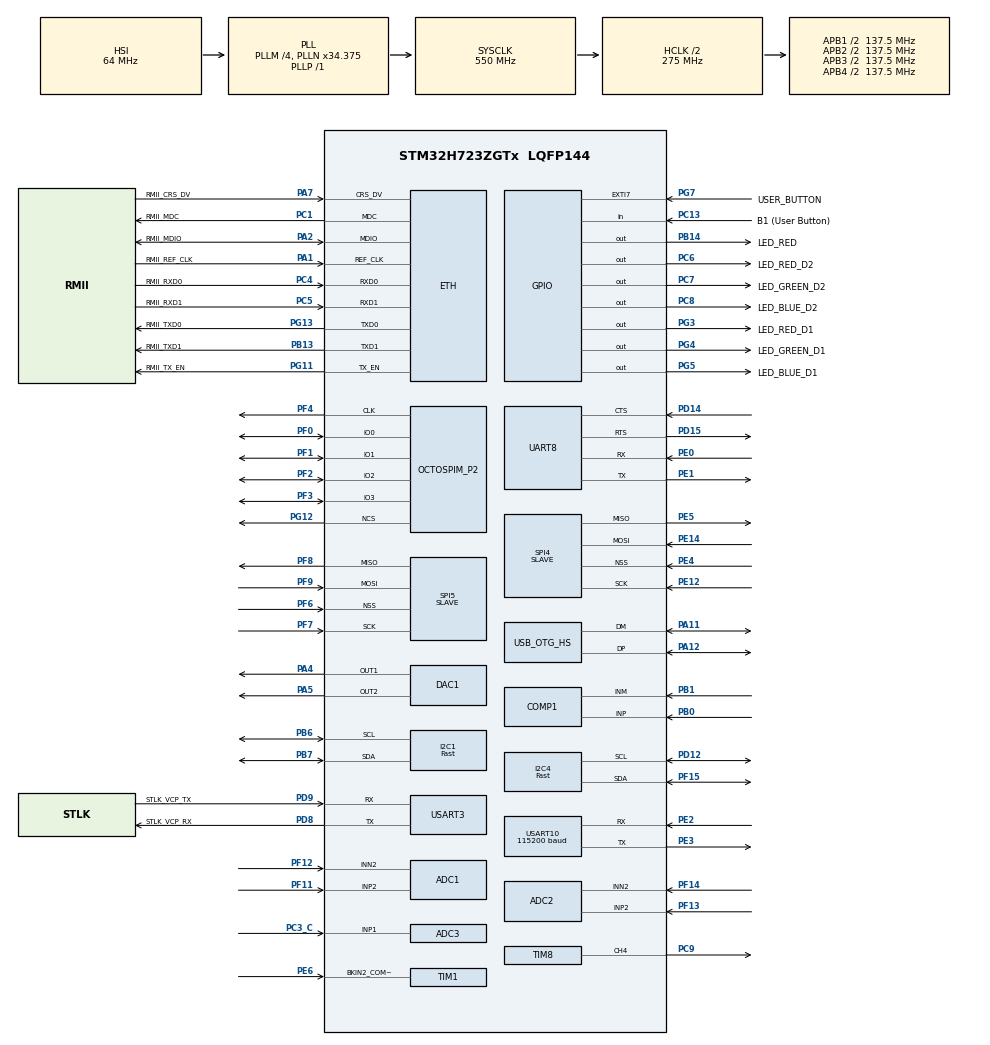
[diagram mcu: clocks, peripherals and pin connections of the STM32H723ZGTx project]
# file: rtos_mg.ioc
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ADC1.AWD1HighThreshold=50000
ADC1.AWD1ITMode=ENABLE
ADC1.Channel-0\#ChannelRegularConversion=ADC_CHANNEL_2
ADC1.ContinuousConvMode=ENABLE
ADC1.EnableAnalogWatchDog1=true
ADC1.NbrOfConversionFlag=1
ADC1.OffsetNumber-0\#ChannelRegularConversion=ADC_OFFSET_NONE
ADC1.OffsetSignedSaturation-0\#ChannelRegularConversion=DISABLE
ADC1.Rank-0\#ChannelRegularConversion=1
ADC1.SamplingTime-0\#ChannelRegularConversion=ADC_SAMPLETIME_2CYCLES_5
ADC1.SingleDiff-0\#ChannelRegularConversion=ADC_DIFFERENTIAL_ENDED
ADC1.WatchdogChannel=ADC_CHANNEL_2
ADC1.master=1
ADC2.AWD1HighThreshold=50000
ADC2.AWD1ITMode=ENABLE
ADC2.Channel-0\#ChannelRegularConversion=ADC_CHANNEL_2
ADC2.ContinuousConvMode=ENABLE
ADC2.ConversionDataManagement=ADC_CONVERSIONDATA_DR
ADC2.EnableAnalogWatchDog1=true
ADC2.NbrOfConversionFlag=1
ADC2.OffsetNumber-0\#ChannelRegularConversion=ADC_OFFSET_NONE
ADC2.OffsetSignedSaturation-0\#ChannelRegularConversion=DISABLE
ADC2.Rank-0\#ChannelRegularConversion=1
ADC2.SamplingTime-0\#ChannelRegularConversion=ADC_SAMPLETIME_2CYCLES_5
ADC2.SingleDiff-0\#ChannelRegularConversion=ADC_DIFFERENTIAL_ENDED
ADC2.WatchdogChannel=ADC_CHANNEL_2
ADC3.AWD1FilteringConfig=ADC3_AWD_FILTERING_4SAMPLES
ADC3.AWD1HighThreshold=4000
ADC3.Channel-0\#ChannelRegularConversion=ADC_CHANNEL_1
ADC3.ContinuousConvMode=ENABLE
ADC3.ConversionDataManagement=ADC_CONVERSIONDATA_DMA_CIRCULAR
ADC3.DMAContinuousRequests=ENABLE
ADC3.EnableAnalogWatchDog1=true
ADC3.NbrOfConversion=1
ADC3.NbrOfConversionFlag=1
ADC3.OffsetNumber-0\#ChannelRegularConversion=ADC_OFFSET_NONE
ADC3.OffsetSign-0\#ChannelRegularConversion=ADC3_OFFSET_SIGN_NEGATIVE
ADC3.Rank-0\#ChannelRegularConversion=1
ADC3.SamplingTime-0\#ChannelRegularConversion=ADC3_SAMPLETIME_2CYCLES_5
ADC3.WatchdogChannel=ADC_CHANNEL_1
Bdma.ADC3.0.Direction=DMA_PERIPH_TO_MEMORY
Bdma.ADC3.0.EventEnable=DISABLE
Bdma.ADC3.0.Instance=BDMA_Channel0
Bdma.ADC3.0.MemDataAlignment=DMA_MDATAALIGN_HALFWORD
Bdma.ADC3.0.MemInc=DMA_MINC_ENABLE
Bdma.ADC3.0.Mode=DMA_CIRCULAR
Bdma.ADC3.0.PeriphDataAlignment=DMA_PDATAALIGN_HALFWORD
Bdma.ADC3.0.PeriphInc=DMA_PINC_DISABLE
Bdma.ADC3.0.Polarity=HAL_DMAMUX_REQ_GEN_RISING
Bdma.ADC3.0.Priority=DMA_PRIORITY_LOW
Bdma.ADC3.0.RequestNumber=1
Bdma.ADC3.0.SignalID=NONE
Bdma.ADC3.0.SyncEnable=DISABLE
Bdma.ADC3.0.SyncPolarity=HAL_DMAMUX_SYNC_NO_EVENT
Bdma.ADC3.0.SyncRequestNumber=1
Bdma.ADC3.0.SyncSignalID=NONE
Bdma.Request0=ADC3
Bdma.RequestsNb=1
COMP1.Hysteresis=COMP_HYSTERESIS_NONE
COMP1.TriggerMode=COMP_TRIGGERMODE_IT_RISING_FALLING
CORTEX_M7.CPU_DCache=Disabled
CORTEX_M7.CPU_ICache=Disabled
CORTEX_M7.default_mode_Activation=0
DAC1.DAC_Channel-DAC_OUT1=DAC_CHANNEL_1
DAC1.DAC_Channel-DAC_OUT2=DAC_CHANNEL_2
DTS.Divider=100
DTS.SamplingTime=DTS_SMP_TIME_15_CYCLE
ETH.MediaInterface=HAL_ETH_RMII_MODE
FREERTOS.Tasks01=Server,24,2048,server,Default,NULL,Dynamic,NULL,NULL
FREERTOS.configTOTAL_HEAP_SIZE=65536
FREERTOS.configUSE_NEWLIB_REENTRANT=1
I2C1.I2C_Speed_Mode=I2C_Fast
I2C1.Timing=0x00D049FB
I2C4.I2C_Speed_Mode=I2C_Fast
I2C4.Speed=400
I2C4.Timing=0x00D049FB
Mcu.Family=STM32H7
Mcu.Name=STM32H723ZGTx
Mcu.Package=LQFP144
NVIC.ADC3_IRQn=true\:5\:0\:false\:false\:true\:true\:true\:true\:true
NVIC.ADC_IRQn=true\:5\:0\:false\:false\:true\:true\:true\:true\:true
NVIC.BDMA_Channel0_IRQn=true\:5\:0\:false\:false\:true\:true\:false\:true\:true
NVIC.COMP_IRQn=true\:5\:0\:false\:false\:true\:true\:false\:true\:true
NVIC.ETH_IRQn=true\:5\:0\:false\:false\:true\:true\:true\:true\:true
NVIC.EXTI9_5_IRQn=true\:5\:0\:false\:false\:true\:true\:true\:true\:true
NVIC.I2C1_ER_IRQn=true\:5\:0\:false\:false\:true\:true\:true\:true\:true
NVIC.I2C1_EV_IRQn=true\:5\:0\:false\:false\:true\:true\:true\:true\:true
NVIC.I2C4_ER_IRQn=true\:5\:0\:false\:false\:true\:true\:true\:true\:true
NVIC.I2C4_EV_IRQn=true\:5\:0\:false\:false\:true\:true\:true\:true\:true
NVIC.OTG_HS_IRQn=true\:5\:0\:false\:false\:true\:true\:false\:true\:true
NVIC.PriorityGroup=NVIC_PRIORITYGROUP_4
NVIC.SPI4_IRQn=true\:5\:0\:false\:false\:true\:true\:true\:true\:true
NVIC.SPI5_IRQn=true\:5\:0\:false\:false\:true\:true\:true\:true\:true
NVIC.TIM6_DAC_IRQn=true\:15\:0\:false\:false\:true\:false\:false\:true\:true
NVIC.TimeBase=TIM6_DAC_IRQn
NVIC.TimeBaseIP=TIM6
NVIC.UART8_IRQn=true\:5\:0\:false\:false\:true\:true\:true\:true\:true
NVIC.USART10_IRQn=true\:5\:0\:false\:false\:true\:true\:true\:true\:true
OCTOSPI2.ChipSelectHighTime=8
OCTOSPI2.ClockPrescaler=10
OCTOSPI2.DelayBlockBypass=HAL_OSPI_DELAY_BLOCK_BYPASSED
OCTOSPI2.DeviceSize=24
OCTOSPI2.DeviceType=SPI_DEVICE_FLASH
OCTOSPI2.FifoThreshold=4
OCTOSPI2.SampleShifting=HAL_OSPI_SAMPLE_SHIFTING_HALFCYCLE
PA1.GPIO_Label=RMII_REF_CLK
PA1.GPIO_Speed=GPIO_SPEED_FREQ_VERY_HIGH
PA1.Mode=RMII
PA1.Signal=ETH_REF_CLK
PA11.Mode=Device_Only_FS
PA11.Signal=USB_OTG_HS_DM
PA12.Mode=Device_Only_FS
PA12.Signal=USB_OTG_HS_DP
PA13(JTMS/SWDIO).GPIO_Label=SWDIO
PA13(JTMS/SWDIO).Signal=DEBUG_JTMS-SWDIO
PA14(JTCK/SWCLK).GPIO_Label=SWCLK
PA14(JTCK/SWCLK).Signal=DEBUG_JTCK-SWCLK
PA2.GPIO_Label=RMII_MDIO
PA2.GPIO_Speed=GPIO_SPEED_FREQ_VERY_HIGH
PA2.Mode=RMII
PA2.Signal=ETH_MDIO
PA4.Signal=COMP_DAC11_group
PA5.Signal=COMP_DAC12_group
PA7.GPIO_Label=RMII_CRS_DV
PA7.GPIO_Speed=GPIO_SPEED_FREQ_VERY_HIGH
PA7.Mode=RMII
PA7.Signal=ETH_CRS_DV
PB0.Mode=INP
PB0.Signal=COMP1_INP
PB1.Mode=INM
PB1.Signal=COMP1_INM
PB13.GPIO_Label=RMII_TXD1
PB13.GPIO_Speed=GPIO_SPEED_FREQ_VERY_HIGH
PB13.Mode=RMII
PB13.Signal=ETH_TXD1
PB14.GPIO_Label=LED_RED
PB14.Signal=GPIO_Output
PB6.Mode=I2C
PB6.Signal=I2C1_SCL
PB7.Mode=I2C
PB7.Signal=I2C1_SDA
PC1.GPIO_Label=RMII_MDC
PC1.GPIO_Speed=GPIO_SPEED_FREQ_VERY_HIGH
PC1.Mode=RMII
PC1.Signal=ETH_MDC
PC13.GPIO_Label=B1 (User Button)
PC13.Signal=GPIO_Input
PC14-OSC32_IN.Signal=RCC_OSC32_IN
PC15-OSC32_OUT.Signal=RCC_OSC32_OUT
PC3_C.Mode=IN1-Single-Ended
PC3_C.Signal=ADC3_INP1
PC4.GPIO_Label=RMII_RXD0
PC4.GPIO_Speed=GPIO_SPEED_FREQ_VERY_HIGH
PC4.Mode=RMII
PC4.Signal=ETH_RXD0
PC5.GPIO_Label=RMII_RXD1
PC5.GPIO_Speed=GPIO_SPEED_FREQ_VERY_HIGH
PC5.Mode=RMII
PC5.Signal=ETH_RXD1
PC6.GPIO_Label=LED_RED_D2
PC6.Signal=GPIO_Output
PC7.GPIO_Label=LED_GREEN_D2
PC7.Signal=GPIO_Output
PC8.GPIO_Label=LED_BLUE_D2
PC8.GPIO_ModeDefaultOutputPP=GPIO_MODE_OUTPUT_OD
PC8.GPIO_PuPd=GPIO_NOPULL
PC8.Signal=GPIO_Output
PC9.Signal=S_TIM8_CH4
PD12.Mode=I2C
PD12.Signal=I2C4_SCL
PD14.Mode=CTS_RTS
PD14.Signal=UART8_CTS
PD15.Mode=CTS_RTS
PD15.Signal=UART8_RTS
PD8.GPIO_Label=STLK_VCP_RX
PD8.Mode=Asynchronous
PD8.Signal=USART3_TX
PD9.GPIO_Label=STLK_VCP_TX
PD9.Mode=Asynchronous
PD9.Signal=USART3_RX
PE0.Mode=Asynchronous
PE0.Signal=UART8_RX
PE1.Mode=Asynchronous
PE1.Signal=UART8_TX
PE12.Mode=Full_Duplex_Slave
PE12.Signal=SPI4_SCK
PE14.Mode=Full_Duplex_Slave
PE14.Signal=SPI4_MOSI
PE2.Mode=Asynchronous
PE2.Signal=USART10_RX
PE3.Mode=Asynchronous
PE3.Signal=USART10_TX
PE4.Mode=NSS_Signal_Hard_Input
PE4.Signal=SPI4_NSS
PE5.Mode=Full_Duplex_Slave
PE5.Signal=SPI4_MISO
PE6.Mode=ExternalOutput_TIM1BKIN2
PE6.Signal=TIM1_BKIN2_COMP1
PF0.Mode=OCTOSPI2_IOL_Port2L
PF0.Signal=OCTOSPIM_P2_IO0
PF1.Mode=OCTOSPI2_IOL_Port2L
PF1.Signal=OCTOSPIM_P2_IO1
PF11.Mode=IN2-Differential
PF11.Signal=ADC1_INP2
PF12.Mode=IN2-Differential
PF12.Signal=ADC1_INN2
PF13.Mode=IN2-Differential
PF13.Signal=ADC2_INP2
PF14.Mode=IN2-Differential
PF14.Signal=ADC2_INN2
PF15.Mode=I2C
PF15.Signal=I2C4_SDA
PF2.Mode=OCTOSPI2_IOL_Port2L
PF2.Signal=OCTOSPIM_P2_IO2
PF3.Mode=OCTOSPI2_IOL_Port2L
PF3.Signal=OCTOSPIM_P2_IO3
PF4.Mode=O2_P2_CLK
PF4.Signal=OCTOSPIM_P2_CLK
PF6.Mode=NSS_Signal_Hard_Input
PF6.Signal=SPI5_NSS
PF7.Mode=Full_Duplex_Slave
PF7.Signal=SPI5_SCK
PF8.Mode=Full_Duplex_Slave
PF8.Signal=SPI5_MISO
PF9.Mode=Full_Duplex_Slave
PF9.Signal=SPI5_MOSI
PG11.GPIO_Label=RMII_TX_EN
PG11.GPIO_Speed=GPIO_SPEED_FREQ_VERY_HIGH
PG11.Mode=RMII
PG11.Signal=ETH_TX_EN
PG12.Mode=OCTOSPI2_Port2_NCS
PG12.Signal=OCTOSPIM_P2_NCS
PG13.GPIO_Label=RMII_TXD0
PG13.GPIO_Speed=GPIO_SPEED_FREQ_VERY_HIGH
PG13.Mode=RMII
PG13.Signal=ETH_TXD0
PG3.GPIO_Label=LED_RED_D1
PG3.GPIO_ModeDefaultOutputPP=GPIO_MODE_OUTPUT_OD
PG3.GPIO_PuPd=GPIO_NOPULL
PG3.Signal=GPIO_Output
PG4.GPIO_Label=LED_GREEN_D1
PG4.GPIO_ModeDefaultOutputPP=GPIO_MODE_OUTPUT_OD
PG4.GPIO_PuPd=GPIO_NOPULL
PG4.Signal=GPIO_Output
PG5.GPIO_Label=LED_BLUE_D1
PG5.GPIO_ModeDefaultOutputPP=GPIO_MODE_OUTPUT_OD
PG5.GPIO_PuPd=GPIO_NOPULL
PG5.Signal=GPIO_Output
PG7.GPIO_Label=USER_BUTTON
PG7.Signal=GPXTI7
ProjectManager.HeapSize=0x200
ProjectManager.StackSize=0x400
ProjectManager.TargetToolchain=CMake
RCC.ADCFreq_Value=4000000
RCC.APB1Freq_Value=137500000
RCC.APB2Freq_Value=137500000
RCC.APB3Freq_Value=137500000
RCC.APB4Freq_Value=137500000
RCC.CortexFreq_Value=550000000
RCC.D1PPRE=RCC_APB3_DIV2
RCC.D2PPRE1=RCC_APB1_DIV2
RCC.D2PPRE2=RCC_APB2_DIV2
RCC.D3PPRE=RCC_APB4_DIV2
RCC.DIVM1=4
RCC.DIVM2=8
RCC.DIVN1=34
RCC.DIVN2=32
RCC.DIVP1=1
RCC.DIVP2=64
RCC.DIVQ1=4
RCC.HCLKFreq_Value=275000000
RCC.HPRE=RCC_HCLK_DIV2
RCC.HSE_VALUE=8000000
RCC.PLLFRACN=3072
RCC.SYSCLKFreq_VALUE=550000000
RCC.SYSCLKSource=RCC_SYSCLKSOURCE_PLLCLK
RCC.USBCLockSelection=RCC_USBCLKSOURCE_HSI48
RCC.USBFreq_Value=48000000
SH.COMP_DAC11_group.0=DAC1_OUT1,DAC_OUT1
SH.COMP_DAC12_group.0=DAC1_OUT2,DAC_OUT2
SH.S_TIM8_CH4.0=TIM8_CH4,PWM Generation4 CH4
SPI4.DataSize=SPI_DATASIZE_8BIT
SPI4.Direction=SPI_DIRECTION_2LINES
SPI4.Mode=SPI_MODE_SLAVE
SPI4.VirtualNSS=VM_NSSHARD
SPI4.VirtualType=VM_SLAVE
SPI5.Direction=SPI_DIRECTION_2LINES
SPI5.Mode=SPI_MODE_SLAVE
SPI5.VirtualNSS=VM_NSSHARD
SPI5.VirtualType=VM_SLAVE
TIM8.Channel-PWM\ Generation4\ CH4=TIM_CHANNEL_4
TIM8.Period=97
TIM8.Prescaler=6
TIM8.Pulse-PWM\ Generation4\ CH4=49
USART10.BaudRate=115200
USART10.VirtualMode-Asynchronous=VM_ASYNC
USART3.VirtualMode-Asynchronous=VM_ASYNC
USB_DEVICE.CLASS_NAME_HS=CDC
USB_DEVICE.MANUFACTURER_STRING=Yamos made me
USB_DEVICE.PRODUCT_STRING_CDC_HS=HaGeneral USB
USB_DEVICE.VirtualMode=Cdc
USB_DEVICE.VirtualModeHS=Cdc_HS
USB_OTG_HS.VirtualMode-Device_Only_FS=Device_Only_FS
USB_OTG_HS.dma_enable-Device_Only_FS=DISABLE
VP_DTS_VS-DTS.Mode=DTS
VP_FREERTOS_VS_CMSIS_V2.Mode=CMSIS_V2
VP_MEMORYMAP_VS_MEMORYMAP.Mode=CurAppReg
VP_OCTOSPI2_VS_quad.Mode=quad_mode
VP_RNG_VS_RNG.Mode=RNG_Activate
VP_SYS_VS_tim6.Mode=TIM6
VP_TIM8_VS_ClockSourceINT.Mode=Internal
VP_USB_DEVICE_VS_USB_DEVICE_CDC_HS.Mode=CDC_HS
board=NUCLEO-H723ZG

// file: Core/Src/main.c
/* USER CODE BEGIN Header */
/**
  ******************************************************************************
  * @file           : main.c
  * @brief          : Main program body
  ******************************************************************************
  * @attention
  *
  * Copyright (c) 2025 STMicroelectronics.
  * All rights reserved.
  *
  * This software is licensed under terms that can be found in the LICENSE file
  * in the root directory of this software component.
  * If no LICENSE file comes with this software, it is provided AS-IS.
  *
  ******************************************************************************
  */
/* USER CODE END Header */
#include "main.h"
#include "string.h"
#include "cmsis_os.h"
#include "usb_device.h"

/* USER CODE BEGIN Includes */
#include "mongoose.h"
#include "stm32h7xx_hal.h"
#include "http/routers/main_router.h"
#include "http/settings/network.h"
#include "serial_comm/i2c/hi2c4.h"
#include "serial_comm/i2c/hi2c1.h"
#include "serial_comm/i2c/i2c_hil_test.h"
#include "peripherals/adc/hadc3.h"
#include "peripherals/adc/hadc2.h"
#include "peripherals/adc/utils.h"
#include "peripherals/dac/hdac1.h"
#include "peripherals/dts/hdts.h"
#include "peripherals/comp/hcomp1.h"
#include "serial_comm/uart/huart10.h"
#include "serial_comm/uart/huart8.h"
#include "serial_comm/uart/uart_hil_test.h"
#include "peripherals/timer/htim8.h"
#include "serial_comm/spi/hspi4.h"
#include "serial_comm/spi/hspi5.h"
#include "serial_comm/spi/spi_hil_test.h"
#include "serial_comm/spi/octospi.h"
#include "flash/w25q128jvsq.h"
#include "usb_comport.h"
/* USER CODE END Includes */

#if defined ( __ICCARM__ ) /*!< IAR Compiler */
#pragma location=0x30000000
ETH_DMADescTypeDef  DMARxDscrTab[ETH_RX_DESC_CNT]; /* Ethernet Rx DMA Descriptors */
#pragma location=0x30000080
ETH_DMADescTypeDef  DMATxDscrTab[ETH_TX_DESC_CNT]; /* Ethernet Tx DMA Descriptors */

#elif defined ( __CC_ARM )  /* MDK ARM Compiler */

__attribute__((at(0x30000000))) ETH_DMADescTypeDef  DMARxDscrTab[ETH_RX_DESC_CNT]; /* Ethernet Rx DMA Descriptors */
__attribute__((at(0x30000080))) ETH_DMADescTypeDef  DMATxDscrTab[ETH_TX_DESC_CNT]; /* Ethernet Tx DMA Descriptors */

#elif defined ( __GNUC__ ) /* GNU Compiler */

ETH_DMADescTypeDef DMARxDscrTab[ETH_RX_DESC_CNT] __attribute__((section(".RxDescripSection"))); /* Ethernet Rx DMA Descriptors */
ETH_DMADescTypeDef DMATxDscrTab[ETH_TX_DESC_CNT] __attribute__((section(".TxDescripSection")));   /* Ethernet Tx DMA Descriptors */
#endif

ETH_TxPacketConfig TxConfig;

ETH_HandleTypeDef heth;

RNG_HandleTypeDef hrng;

UART_HandleTypeDef huart3;

/* Definitions for Server */
osThreadId_t ServerHandle;
const osThreadAttr_t Server_attributes = {
  .name = "Server",
  .stack_size = 2048 * 8,
  .priority = (osPriority_t) osPriorityNormal,
};

void SystemClock_Config(void);
void PeriphCommonClock_Config(void);
static void MX_GPIO_Init(void);
static void MX_USART3_UART_Init(void);
static void MX_ETH_Init(void);
static void MX_RNG_Init(void);
void server(void *argument);

/* USER CODE BEGIN 0 */
struct ws_handler {
  unsigned timeout_ms;
  void (*fn)(struct mg_connection *);
};
static struct ws_handler
    s_ws_handlers[sizeof(((struct mg_connection *) 0)->data) /
                  sizeof(struct ws_handler)];
static size_t s_ws_handlers_count;

void mongoose_add_ws_handler(unsigned ms, void (*fn)(struct mg_connection *)) {
  size_t max = sizeof(s_ws_handlers) / sizeof(s_ws_handlers[0]);
  if (s_ws_handlers_count >= max) {
    MG_ERROR(("WS handlers limit exceeded, max %lu", max));
  } else {
    s_ws_handlers[s_ws_handlers_count].timeout_ms = ms;
    s_ws_handlers[s_ws_handlers_count].fn = fn;
    s_ws_handlers_count++;
  }
};

static void ws_500(struct mg_connection *c) {

  int32_t temperature = 0;
	HAL_StatusTypeDef status = dts_get_temperature(&temperature);

  if (status != HAL_OK) {
    temperature = -1;
  }
    mg_ws_printf(c, WEBSOCKET_OP_TEXT,
              "{%m: %d, %m: %.1f, %m: %d}",
              MG_ESC("voltage"), 47,
              MG_ESC("pressure"), 32.2,
              MG_ESC("temperature"), temperature);
}

//  try to move to syscalls.c
int _write(int fd, unsigned char *buf, int len) {
  if (fd == 1 || fd == 2) {                     // stdout or stderr ?
    HAL_UART_Transmit(&huart3, buf, len, 999);  // Print to the UART
  }
  return len;
}
static void send_websocket_data(struct mg_mgr *mgr) {
  struct mg_connection *c;
  uint64_t now = mg_millis();

  for (c = mgr->conns; c != NULL; c = c->next) {
    uint64_t *timers = (uint64_t *)&c->data[0];
    size_t i;

    if (c->is_websocket == 0) continue;  // Not a websocket connection? Skip
    if (c->send.len > 2048) continue;    // Too much data already? Skip

    for (i = 0; i < s_ws_handlers_count; i++) {
      if (c->pfn_data == NULL ||
          mg_timer_expired(&timers[i], s_ws_handlers[i].timeout_ms, now)) {
        s_ws_handlers[i].fn(c);
        c->pfn_data = (void *)1;
      }
    }
  }
}

// In RTOS environment, run this function in a separate task. Give it 8k stack
static void run_mongoose(void) {
  struct mg_mgr mgr = {0};        // Mongoose event manager
  mg_mgr_init(&mgr);        // Initialise event manager

  mg_http_listen(&mgr, "http://0.0.0.0:80", event_handler, "");
  set_ip_configurations(&mgr);

  mg_log_set(MG_LL_DEBUG);  // Set log level to debug

  mongoose_add_ws_handler(2000, ws_500);

  for (;;) {                // Infinite event loop
    mg_mgr_poll(&mgr, 10);   // Process network events
    send_websocket_data(&mgr);

  }
}

/* USER CODE END 0 */

int main(void)
{

  /* USER CODE BEGIN 1 */
  SCB_EnableICache();
  // SCB_EnableDCache();

  /* USER CODE END 1 */

  /* MCU Configuration--------------------------------------------------------*/

  /* Reset of all peripherals, Initializes the Flash interface and the Systick. */
  HAL_Init();

  /* Configure the system clock */
  SystemClock_Config();

  /* Configure the peripherals common clocks */
  PeriphCommonClock_Config();

  /* Initialize all configured peripherals */
  MX_GPIO_Init();
  MX_BDMA_Init();
  MX_USART3_UART_Init();
  MX_ETH_Init();
  MX_RNG_Init();
  MX_I2C4_Init();
  MX_ADC3_Init();
  MX_ADC2_Init();
  MX_ADC1_Init();
  MX_DAC1_Init();
  MX_DTS_Init();
  MX_I2C1_Init();
  MX_COMP1_Init();
  MX_USART10_UART_Init();
  MX_UART8_Init();
  MX_TIM8_Init();
  MX_SPI4_Init();
  MX_SPI5_Init();
  MX_OCTOSPI2_Init();
  /* USER CODE BEGIN 2 */
  MX_USB_DEVICE_Init();
  usb_comport_init();

  //init all adcs here + calibration
  adc_init_all_handles();

  #ifdef HIL_SLAVE_MODE

  if (i2c_slave_init() != HAL_OK) {
    printf("i2c init failed....\r\n");
  }

  if (spi_slave_init() != HAL_OK) {
    printf("spi init failed....\r\n");
  }

  if (uart_slave_init() != HAL_OK) {
    printf("uart init failed....\r\n");
  }

  #endif

  //init comp
  uint32_t comp_output;
  comp1_get_value(&comp_output);

  //init uart
  uart10.init(&uart10);
  uart8.init(&uart8);

if (w25q128_driver.init() != HAL_OK) {
    MG_INFO(("External flash init failed"));
    return;
}

if (w25q128_driver.memmap_enable() != HAL_OK) {
    MG_INFO(("Failed to enable memory-mapped mode"));
    return;
}

#ifdef HIL_MASTER_MODE
HAL_StatusTypeDef result = hil_test_i2c(&hi2c1);
if (result == HAL_OK) {
    printf("\r\n---- TEST PASSED I2C1 ----\r\n");
} else {
    printf("\r\n---- TEST FAILED I2C1, status : %d ----\r\n", result);
}

result = hil_test_i2c(&hi2c4);
if (result == HAL_OK) {
    printf("\r\n---- TEST PASSED I2C4 ----\r\n");
} else {
    printf("\r\n---- TEST FAILED I2C4, status : %d ----\r\n", result);
}

result = hil_test_spi(&hspi5);
if (result == HAL_OK) {
  printf("\r\n---- TEST PASSED SPI5 ----\r\n");
} else {
  printf("\r\n---- TEST FAILED SPI5, status : %d ----\r\n", result);
}

result = hil_test_spi(&hspi4);
if (result == HAL_OK) {
    printf("\r\n---- TEST PASSED SPI4 ----\r\n");
} else {
    printf("\r\n---- TEST FAILED SPI4, status : %d ----\r\n", result);
}

result = hil_test_uart(&uart8);
if (result == HAL_OK) {
    printf("\r\n---- TEST PASSED UART8 ----\r\n");
} else {
    printf("\r\n---- TEST FAILED UART8, status : %d ----\r\n", result);
}

result = hil_test_uart(&uart10);
if (result == HAL_OK) {
    printf("\r\n---- TEST PASSED UART10 ----\r\n");
} else {
    printf("\r\n---- TEST FAILED UART10, status : %d ----\r\n", result);
}

// if (w25q128_driver.test() != HAL_OK) {
//     MG_INFO(("Unit test failed"));
//     return;
// }

#endif

/* USER CODE BEGIN 0 */

  /* USER CODE END 2 */

  /* Init scheduler */
  osKernelInitialize();

  /* Create the thread(s) */
  /* creation of Server */
  ServerHandle = osThreadNew(server, NULL, &Server_attributes);

  /* Start scheduler */
  osKernelStart();

  /* We should never get here as control is now taken by the scheduler */

  /* Infinite loop */
  /* USER CODE BEGIN WHILE */

  while (1) {
    printf("Tick: %lu\r\n", HAL_GetTick());
    HAL_Delay(500);
    /* USER CODE END WHILE */

  }
}

void SystemClock_Config(void)
{
  RCC_OscInitTypeDef RCC_OscInitStruct = {0};
  RCC_ClkInitTypeDef RCC_ClkInitStruct = {0};

  /** Supply configuration update enable
  */
  HAL_PWREx_ConfigSupply(PWR_LDO_SUPPLY);

  /** Configure the main internal regulator output voltage
  */
  __HAL_PWR_VOLTAGESCALING_CONFIG(PWR_REGULATOR_VOLTAGE_SCALE0);

  while(!__HAL_PWR_GET_FLAG(PWR_FLAG_VOSRDY)) {}

  /** Initializes the RCC Oscillators according to the specified parameters
  * in the RCC_OscInitTypeDef structure.
  */
  RCC_OscInitStruct.OscillatorType = RCC_OSCILLATORTYPE_HSI48|RCC_OSCILLATORTYPE_HSI;
  RCC_OscInitStruct.HSIState = RCC_HSI_DIV1;
  RCC_OscInitStruct.HSICalibrationValue = 64;
  RCC_OscInitStruct.HSI48State = RCC_HSI48_ON;
  RCC_OscInitStruct.PLL.PLLState = RCC_PLL_ON;
  RCC_OscInitStruct.PLL.PLLSource = RCC_PLLSOURCE_HSI;
  RCC_OscInitStruct.PLL.PLLM = 4;
  RCC_OscInitStruct.PLL.PLLN = 34;
  RCC_OscInitStruct.PLL.PLLP = 1;
  RCC_OscInitStruct.PLL.PLLQ = 4;
  RCC_OscInitStruct.PLL.PLLR = 2;
  RCC_OscInitStruct.PLL.PLLRGE = RCC_PLL1VCIRANGE_3;
  RCC_OscInitStruct.PLL.PLLVCOSEL = RCC_PLL1VCOWIDE;
  RCC_OscInitStruct.PLL.PLLFRACN = 3072;
  if (HAL_RCC_OscConfig(&RCC_OscInitStruct) != HAL_OK)
  {
    Error_Handler();
  }

  /** Initializes the CPU, AHB and APB buses clocks
  */
  RCC_ClkInitStruct.ClockType = RCC_CLOCKTYPE_HCLK|RCC_CLOCKTYPE_SYSCLK
                              |RCC_CLOCKTYPE_PCLK1|RCC_CLOCKTYPE_PCLK2
                              |RCC_CLOCKTYPE_D3PCLK1|RCC_CLOCKTYPE_D1PCLK1;
  RCC_ClkInitStruct.SYSCLKSource = RCC_SYSCLKSOURCE_PLLCLK;
  RCC_ClkInitStruct.SYSCLKDivider = RCC_SYSCLK_DIV1;
  RCC_ClkInitStruct.AHBCLKDivider = RCC_HCLK_DIV2;
  RCC_ClkInitStruct.APB3CLKDivider = RCC_APB3_DIV2;
  RCC_ClkInitStruct.APB1CLKDivider = RCC_APB1_DIV2;
  RCC_ClkInitStruct.APB2CLKDivider = RCC_APB2_DIV2;
  RCC_ClkInitStruct.APB4CLKDivider = RCC_APB4_DIV2;

  if (HAL_RCC_ClockConfig(&RCC_ClkInitStruct, FLASH_LATENCY_3) != HAL_OK)
  {
    Error_Handler();
  }
}

void PeriphCommonClock_Config(void)
{
  RCC_PeriphCLKInitTypeDef PeriphClkInitStruct = {0};

  /** Initializes the peripherals clock
  */
  PeriphClkInitStruct.PeriphClockSelection = RCC_PERIPHCLK_ADC;
  PeriphClkInitStruct.PLL2.PLL2M = 8;
  PeriphClkInitStruct.PLL2.PLL2N = 32;
  PeriphClkInitStruct.PLL2.PLL2P = 64;
  PeriphClkInitStruct.PLL2.PLL2Q = 2;
  PeriphClkInitStruct.PLL2.PLL2R = 2;
  PeriphClkInitStruct.PLL2.PLL2RGE = RCC_PLL2VCIRANGE_3;
  PeriphClkInitStruct.PLL2.PLL2VCOSEL = RCC_PLL2VCOWIDE;
  PeriphClkInitStruct.PLL2.PLL2FRACN = 0;
  PeriphClkInitStruct.AdcClockSelection = RCC_ADCCLKSOURCE_PLL2;
  if (HAL_RCCEx_PeriphCLKConfig(&PeriphClkInitStruct) != HAL_OK)
  {
    Error_Handler();
  }
}

static void MX_ETH_Init(void)
{

   static uint8_t MACAddr[6];

  heth.Instance = ETH;
  MACAddr[0] = 0x00;
  MACAddr[1] = 0x80;
  MACAddr[2] = 0xE1;
  MACAddr[3] = 0x00;
  MACAddr[4] = 0x00;
  MACAddr[5] = 0x00;
  heth.Init.MACAddr = &MACAddr[0];
  heth.Init.MediaInterface = HAL_ETH_RMII_MODE;
  heth.Init.TxDesc = DMATxDscrTab;
  heth.Init.RxDesc = DMARxDscrTab;
  heth.Init.RxBuffLen = 1524;

  if (HAL_ETH_Init(&heth) != HAL_OK)
  {
    Error_Handler();
  }

  memset(&TxConfig, 0 , sizeof(ETH_TxPacketConfig));
  TxConfig.Attributes = ETH_TX_PACKETS_FEATURES_CSUM | ETH_TX_PACKETS_FEATURES_CRCPAD;
  TxConfig.ChecksumCtrl = ETH_CHECKSUM_IPHDR_PAYLOAD_INSERT_PHDR_CALC;
  TxConfig.CRCPadCtrl = ETH_CRC_PAD_INSERT;

}

static void MX_RNG_Init(void)
{

  hrng.Instance = RNG;
  hrng.Init.ClockErrorDetection = RNG_CED_ENABLE;
  if (HAL_RNG_Init(&hrng) != HAL_OK)
  {
    Error_Handler();
  }

}

static void MX_USART3_UART_Init(void)
{

  huart3.Instance = USART3;
  huart3.Init.BaudRate = 115200;
  huart3.Init.WordLength = UART_WORDLENGTH_8B;
  huart3.Init.StopBits = UART_STOPBITS_1;
  huart3.Init.Parity = UART_PARITY_NONE;
  huart3.Init.Mode = UART_MODE_TX_RX;
  huart3.Init.HwFlowCtl = UART_HWCONTROL_NONE;
  huart3.Init.OverSampling = UART_OVERSAMPLING_16;
  huart3.Init.OneBitSampling = UART_ONE_BIT_SAMPLE_DISABLE;
  huart3.Init.ClockPrescaler = UART_PRESCALER_DIV1;
  huart3.AdvancedInit.AdvFeatureInit = UART_ADVFEATURE_NO_INIT;
  if (HAL_UART_Init(&huart3) != HAL_OK)
  {
    Error_Handler();
  }
  if (HAL_UARTEx_SetTxFifoThreshold(&huart3, UART_TXFIFO_THRESHOLD_1_8) != HAL_OK)
  {
    Error_Handler();
  }
  if (HAL_UARTEx_SetRxFifoThreshold(&huart3, UART_RXFIFO_THRESHOLD_1_8) != HAL_OK)
  {
    Error_Handler();
  }
  if (HAL_UARTEx_DisableFifoMode(&huart3) != HAL_OK)
  {
    Error_Handler();
  }

}

static void MX_GPIO_Init(void)
{
  GPIO_InitTypeDef GPIO_InitStruct = {0};

  /* GPIO Ports Clock Enable */
  __HAL_RCC_GPIOE_CLK_ENABLE();
  __HAL_RCC_GPIOC_CLK_ENABLE();
  __HAL_RCC_GPIOF_CLK_ENABLE();
  __HAL_RCC_GPIOA_CLK_ENABLE();
  __HAL_RCC_GPIOB_CLK_ENABLE();
  __HAL_RCC_GPIOD_CLK_ENABLE();
  __HAL_RCC_GPIOG_CLK_ENABLE();

  /*Configure GPIO pin Output Level */
  HAL_GPIO_WritePin(LED_RED_GPIO_Port, LED_RED_Pin, GPIO_PIN_RESET);

  /*Configure GPIO pin Output Level */
  HAL_GPIO_WritePin(GPIOG, LED_RED_D1_Pin|LED_GREEN_D1_Pin|LED_BLUE_D1_Pin, GPIO_PIN_SET);

  /*Configure GPIO pin Output Level */
  #ifdef HIL_MASTER_MODE
    // GREEN LED ON
    HAL_GPIO_WritePin(GPIOC, LED_RED_D2_Pin|LED_BLUE_D2_Pin, GPIO_PIN_SET);
  #else
    // BLUE LED ON
    HAL_GPIO_WritePin(GPIOC, LED_RED_D2_Pin|LED_GREEN_D2_Pin, GPIO_PIN_SET);
  #endif
    /*Configure GPIO pin : B1_Pin */
  GPIO_InitStruct.Pin = B1_Pin;
  GPIO_InitStruct.Mode = GPIO_MODE_INPUT;
  GPIO_InitStruct.Pull = GPIO_NOPULL;
  HAL_GPIO_Init(B1_GPIO_Port, &GPIO_InitStruct);

  /*Configure GPIO pin : LED_RED_Pin */
  GPIO_InitStruct.Pin = LED_RED_Pin;
  GPIO_InitStruct.Mode = GPIO_MODE_OUTPUT_PP;
  GPIO_InitStruct.Pull = GPIO_NOPULL;
  GPIO_InitStruct.Speed = GPIO_SPEED_FREQ_LOW;
  HAL_GPIO_Init(LED_RED_GPIO_Port, &GPIO_InitStruct);

  /*Configure GPIO pins : LED_RED_D1_Pin LED_GREEN_D1_Pin LED_BLUE_D1_Pin */
  GPIO_InitStruct.Pin = LED_RED_D1_Pin|LED_GREEN_D1_Pin|LED_BLUE_D1_Pin;
  GPIO_InitStruct.Mode = GPIO_MODE_OUTPUT_PP;
  GPIO_InitStruct.Pull = GPIO_NOPULL;
  GPIO_InitStruct.Speed = GPIO_SPEED_FREQ_LOW;
  HAL_GPIO_Init(GPIOG, &GPIO_InitStruct);

  /*Configure GPIO pin : USER_BUTTON_Pin */
  GPIO_InitStruct.Pin = USER_BUTTON_Pin;
  GPIO_InitStruct.Mode = GPIO_MODE_IT_RISING;
  GPIO_InitStruct.Pull = GPIO_NOPULL;
  HAL_GPIO_Init(USER_BUTTON_GPIO_Port, &GPIO_InitStruct);

  /*Configure GPIO pins : LED_RED_D2_Pin LED_GREEN_D2_Pin */
  GPIO_InitStruct.Pin = LED_RED_D2_Pin|LED_GREEN_D2_Pin;
  GPIO_InitStruct.Mode = GPIO_MODE_OUTPUT_PP;
  GPIO_InitStruct.Pull = GPIO_NOPULL;
  GPIO_InitStruct.Speed = GPIO_SPEED_FREQ_LOW;
  HAL_GPIO_Init(GPIOC, &GPIO_InitStruct);

  /*Configure GPIO pin : LED_BLUE_D2_Pin */
  GPIO_InitStruct.Pin = LED_BLUE_D2_Pin;
  GPIO_InitStruct.Mode = GPIO_MODE_OUTPUT_OD;
  GPIO_InitStruct.Pull = GPIO_NOPULL;
  GPIO_InitStruct.Speed = GPIO_SPEED_FREQ_LOW;
  HAL_GPIO_Init(LED_BLUE_D2_GPIO_Port, &GPIO_InitStruct);

  /* EXTI interrupt init*/
  HAL_NVIC_SetPriority(USER_BUTTON_EXTI_IRQn, 5, 0);
  HAL_NVIC_EnableIRQ(USER_BUTTON_EXTI_IRQn);

}

void server(void *argument)
{
  /* init code for USB_DEVICE */
  // MX_USB_DEVICE_Init();
  /* USER CODE BEGIN 5 */
  NVIC_EnableIRQ(ETH_IRQn);   // preferably do this in Cube, as the tutorials above instruct
  run_mongoose();
  /* Infinite loop */
  for(;;)
  {
    osDelay(1);
  }
  /* USER CODE END 5 */
}

void HAL_TIM_PeriodElapsedCallback(TIM_HandleTypeDef *htim)
{
  if (htim->Instance == TIM6) {
    HAL_IncTick();
  }
}

void Error_Handler(void)
{
  __disable_irq();
  while (1)
  {
  }
}
